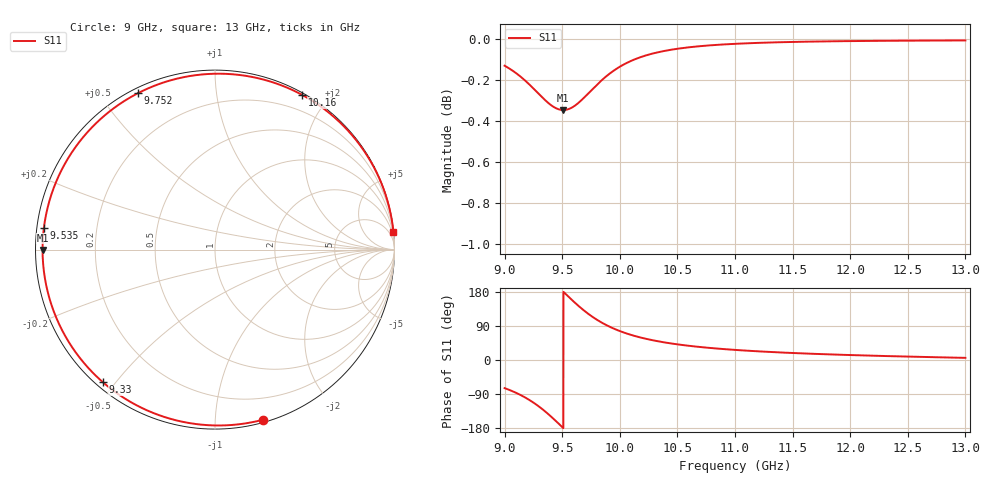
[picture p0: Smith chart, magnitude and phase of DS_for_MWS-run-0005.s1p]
! TOUCHSTONE file generated by CST DESIGN STUDIO
! Date and time: Tue Feb  4 17:46:17 2025
! Project name: C:\Work\MatlabApps\UnitCellOptimizationMatlab\CST\unitcell.cst
! Tree item: Tasks\Sweep1\SPara1\S-Parameters
! Header version: 2024
! Port assignment regex: !\s*Touchstone port\s*([0-9]+)\s*=\s*(CST MWS port|CST DES external port|CST DES block port)\s*(.+)\s* \(\"(.*)\"\)(\s*mode\s*([0-9]+))?.*
! Touchstone port assignment:
! Touchstone port 1 = CST DES external port 1 ("")
# GHz S MA R 50
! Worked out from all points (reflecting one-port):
!   4001 points, 9 GHz to 13 GHz, reference 50 ohm
!   lowest |S11| = -0.3 dB at 9.51 GHz (marker M1), VSWR 50.06, Z = 0.999 - j0.0425 ohm
!   phase of S11 starts at -74 deg and turns -280 deg over the sweep
!   S11 on the Smith chart (normalised r, x): 9 GHz: 0.02, -1.32; 9.33 GHz: 0.02, -0.46; 9.535 GHz: 0.02, +0.06; 9.752 GHz: 0.02, +0.62; 10.16 GHz: 0.02, +1.71; 13 GHz: 0, +20
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9  0.985 -74.2
9.088  0.9814 -85.0
9.191  0.9761 -101.1
9.264  0.9716 -115.3
9.33  0.9675 -130.3
9.376  0.9648 -141.9
9.424  0.9626 -155.0
9.463  0.9614 -166.1
9.5  0.9609 -177.0
9.51  0.9608 -179.9
9.535  0.961 172.7
9.589  0.9623 157.1
9.649  0.9651 140.7
9.7  0.9681 128.0
9.752  0.9714 116.2
9.803  0.9746 105.9
9.86  0.9779 95.8
10  0.9844 76.4
10.079  0.9871 68.0
10.165  0.9893 60.5
10.317  0.9922 50.2
10.5  0.9943 41.3
10.722  0.9959 33.5
11  0.9971 26.6
11.5  0.9982 18.5
12  0.9986 13.1
12.5  0.9989 9.0
13  0.999 5.7
